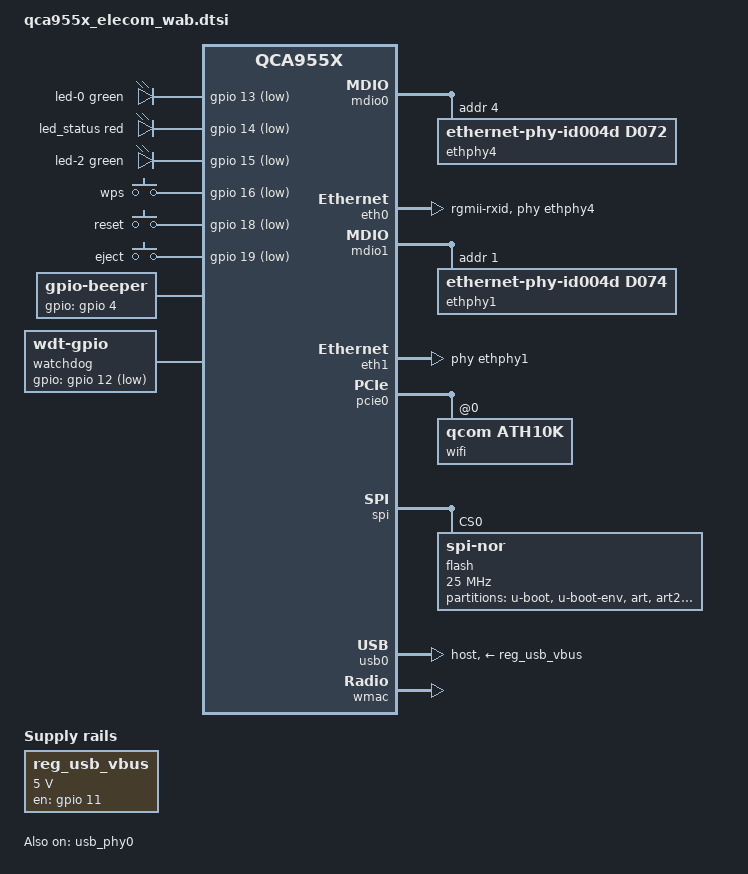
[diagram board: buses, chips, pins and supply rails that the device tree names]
// SPDX-License-Identifier: GPL-2.0-or-later OR MIT

#include "qca955x.dtsi"

#include <dt-bindings/gpio/gpio.h>
#include <dt-bindings/input/input.h>
#include <dt-bindings/leds/common.h>

/ {
	aliases {
		led-boot = &led_status;
		led-failsafe = &led_status;
		led-upgrade = &led_status;
	};

	leds {
		compatible = "gpio-leds";

		led-0 {
			gpios = <&gpio 13 GPIO_ACTIVE_LOW>;
			color = <LED_COLOR_ID_GREEN>;
			function = LED_FUNCTION_WLAN;
			function-enumerator = <24>;
			linux,default-trigger = "phy1tpt";
		};

		led_status: led-1 {
			gpios = <&gpio 14 GPIO_ACTIVE_LOW>;
			color = <LED_COLOR_ID_RED>;
			function = LED_FUNCTION_STATUS;
		};

		led-2 {
			gpios = <&gpio 15 GPIO_ACTIVE_LOW>;
			color = <LED_COLOR_ID_GREEN>;
			function = LED_FUNCTION_USB;
			trigger-sources = <&usb_port1>;
			linux,default-trigger = "usbport";
		};
	};

	keys {
		compatible = "gpio-keys";

		button-wps {
			label = "wps";
			gpios = <&gpio 16 GPIO_ACTIVE_LOW>;
			linux,code = <KEY_WPS_BUTTON>;
			debounce-interval = <60>;
		};

		button-reset {
			label = "reset";
			gpios = <&gpio 18 GPIO_ACTIVE_LOW>;
			linux,code = <KEY_RESTART>;
			debounce-interval = <60>;
		};

		button-eject {
			label = "eject";
			gpios = <&gpio 19 GPIO_ACTIVE_LOW>;
			linux,code = <KEY_EJECTCD>;
			debounce-interval = <60>;
		};
	};

	beeper {
		compatible = "gpio-beeper";
		gpios = <&gpio 4 GPIO_ACTIVE_HIGH>;
	};

	reg_usb_vbus: regulator {
		compatible = "regulator-fixed";
		regulator-name = "usb-vbus";
		regulator-min-microvolt = <5000000>;
		regulator-max-microvolt = <5000000>;
		gpios = <&gpio 11 GPIO_ACTIVE_HIGH>;
		enable-active-high;
		regulator-always-on;
	};

	watchdog {
		compatible = "linux,wdt-gpio";
		gpios = <&gpio 12 GPIO_ACTIVE_LOW>;
		hw_algo = "toggle";
		hw_margin_ms = <300>;
		always-running;
	};
};

&mdio0 {
	status = "okay";

	ethphy4: ethernet-phy@4 {
		compatible = "ethernet-phy-id004d,d072",
			     "ethernet-phy-ieee802.3-c22";
		reg = <0x4>;
		eee-broken-100tx;
		eee-broken-1000t;
	};
};

&eth0 {
	status = "okay";

	phy-handle = <&ethphy4>;
	phy-mode = "rgmii-rxid";
	pll-data = <0xae000000 0x80000101 0x80001313>;

	gmac-config {
		device = <&gmac>;

		rxdv-delay = <3>;
		rxd-delay = <3>;
		txen-delay = <0>;
		txd-delay = <0>;
		rgmii-enabled = <1>;
	};
};

&mdio1 {
	status = "okay";

	ethphy1: ethernet-phy@1 {
		compatible = "ethernet-phy-id004d,d074",
			     "ethernet-phy-ieee802.3-c22";
		reg = <0x1>;
		at803x-override-sgmii-link-check;
	};
};

&eth1 {
	status = "okay";

	phy-handle = <&ethphy1>;
	pll-data = <0x03000000 0x00000101 0x00001313>;

	qca955x-sgmii-fixup;
};

&pcie0 {
	status = "okay";

	wifi@0,0 {
		compatible = "qcom,ath10k";
		reg = <0x0000 0 0 0 0>;
		nvmem-cells = <&cal_art_5000>;
		nvmem-cell-names = "calibration";
	};
};

&spi {
	status = "okay";

	flash@0 {
		compatible = "jedec,spi-nor";
		reg = <0>;
		spi-max-frequency = <25000000>;

		partitions {
			compatible = "fixed-partitions";
			#address-cells = <1>;
			#size-cells = <1>;

			partition@0 {
				label = "u-boot";
				reg = <0x0 0x40000>;
				read-only;
			};

			partition@40000 {
				label = "u-boot-env";
				reg = <0x40000 0x10000>;
				read-only;
			};

			partition@50000 {
				label = "art";
				reg = <0x50000 0x10000>;
				read-only;

				nvmem-layout {
					compatible = "fixed-layout";
					#address-cells = <1>;
					#size-cells = <1>;

					cal_art_1000: calibration@1000 {
						reg = <0x1000 0x440>;
					};

					cal_art_5000: calibration@5000 {
						reg = <0x5000 0x844>;
					};
				};
			};

			partition@60000 {
				label = "art2";
				reg = <0x60000 0x10000>;
				read-only;
			};

			partition@70000 {
				compatible = "denx,uimage";
				label = "firmware";
				reg = <0x70000 0xe00000>;
			};

			partition@e70000 {
				label = "manufacture";
				reg = <0xe70000 0x100000>;
				read-only;
			};

			partition@f70000 {
				label = "backup";
				reg = <0xf70000 0x10000>;
				read-only;
			};

			partition@f80000 {
				label = "storage";
				reg = <0xf80000 0x80000>;
				read-only;
			};
		};
	};
};

&usb_phy0 {
	status = "okay";
};

&usb0 {
	#address-cells = <1>;
	#size-cells = <0>;
	status = "okay";

	dr_mode = "host";
	vbus-supply = <&reg_usb_vbus>;

	usb_port1: port@1 {
		reg = <1>;
		#trigger-source-cells = <0>;
	};
};

&wdt {
	status = "disabled";
};

&wmac {
	status = "okay";

	nvmem-cells = <&cal_art_1000>;
	nvmem-cell-names = "calibration";
};
